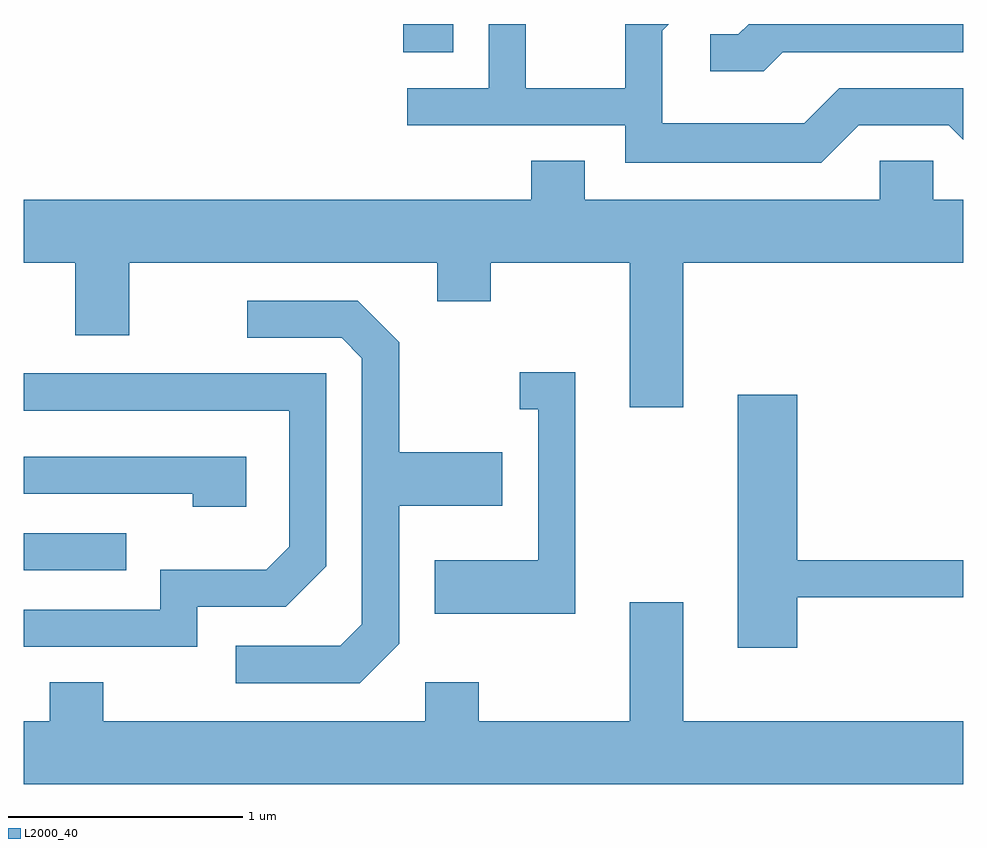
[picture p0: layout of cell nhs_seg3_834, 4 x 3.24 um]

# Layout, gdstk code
import gdstk
lib = gdstk.Library(unit=1e-6, precision=1e-09)
def R(c, l, rs):  # rectangles x0, y0, x1, y1
    for r in rs: c.add(gdstk.rectangle(r[:2], r[2:], *l))
def P(c, l, *ps):  # polygons
    for p in ps: c.add(gdstk.Polygon(p, *l))
L2000_40 = (2000, 40)

nhs_seg3_834 = lib.new_cell('nhs_seg3_834')
R(nhs_seg3_834, L2000_40, [(209.611,1153.566,210.048,1153.724), (211.226,1155.771,211.439,1155.892)])
P(nhs_seg3_834, L2000_40, [(213.167,1155.461),(213.549,1155.461),(213.611,1155.399),(213.611,1155.619),(213.084,1155.619),(212.934,1155.469),(212.329,1155.469),(212.329,1155.864),(212.357,1155.892),(212.171,1155.892),(212.171,1155.619),(211.749,1155.619),(211.749,1155.892),(211.591,1155.892),(211.591,1155.619),(211.243,1155.619),(211.243,1155.461),(212.171,1155.461),(212.171,1155.301),(213.007,1155.301)],
  [(212.842,1155.771),(213.611,1155.771),(213.611,1155.892),(212.697,1155.892),(212.654,1155.849),(212.533,1155.849),(212.533,1155.691),(212.762,1155.691)],
  [(212.419,1154.876),(213.611,1154.876),(213.611,1155.144),(213.484,1155.144),(213.484,1155.309),(213.256,1155.309),(213.256,1155.144),(211.999,1155.144),(211.999,1155.309),(211.771,1155.309),(211.771,1155.144),(209.611,1155.144),(209.611,1154.876),(209.831,1154.876),(209.831,1154.566),(210.059,1154.566),(210.059,1154.876),(211.371,1154.876),(211.371,1154.711),(211.599,1154.711),(211.599,1154.876),(212.191,1154.876),(212.191,1154.261),(212.419,1154.261)],
  [(211.209,1153.254),(211.209,1153.841),(211.649,1153.841),(211.649,1154.069),(211.209,1154.069),(211.209,1154.537),(211.032,1154.714),(210.563,1154.714),(210.563,1154.556),(210.964,1154.556),(211.051,1154.469),(211.051,1153.337),(210.959,1153.244),(210.513,1153.244),(210.513,1153.086),(211.042,1153.086)],
  [(211.959,1154.409),(211.723,1154.409),(211.723,1154.251),(211.801,1154.251),(211.801,1153.609),(211.361,1153.609),(211.361,1153.381),(211.959,1153.381)],
  [(210.349,1153.411),(210.727,1153.411),(210.899,1153.584),(210.899,1154.404),(209.611,1154.404),(209.611,1154.246),(210.741,1154.246),(210.741,1153.667),(210.644,1153.569),(210.191,1153.569),(210.191,1153.399),(209.611,1153.399),(209.611,1153.241),(210.349,1153.241)],
  [(212.904,1153.451),(213.611,1153.451),(213.611,1153.609),(212.904,1153.609),(212.904,1154.314),(212.651,1154.314),(212.651,1153.236),(212.904,1153.236)],
  [(210.559,1154.049),(209.611,1154.049),(209.611,1153.891),(210.331,1153.891),(210.331,1153.836),(210.559,1153.836)],
  [(213.611,1152.924),(212.419,1152.924),(212.419,1153.429),(212.191,1153.429),(212.191,1152.924),(211.549,1152.924),(211.549,1153.089),(211.321,1153.089),(211.321,1152.924),(209.949,1152.924),(209.949,1153.089),(209.721,1153.089),(209.721,1152.924),(209.611,1152.924),(209.611,1152.656),(213.611,1152.656)])

lib.write_gds('nhs_seg3_834.gds')
